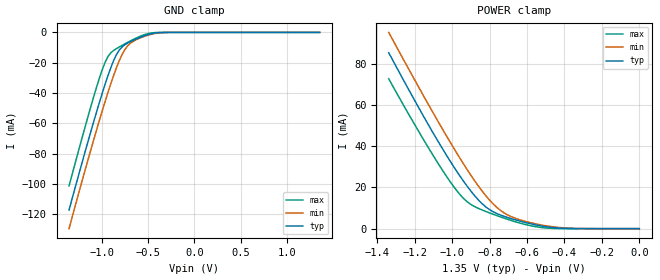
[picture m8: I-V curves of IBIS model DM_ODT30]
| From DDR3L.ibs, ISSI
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|   Model DM_ODT30
[Model]  DM_ODT30
Model_type Input
Vinl = 515.000mV
Vinh = 835.000mV
|   typ   min   max
C_comp   1.3pF   1.2pF   1.40pF
[Model Spec]
| Input threshold voltage corners
Vinl   0.5150V   0.4815V   0.5650V
Vinh   0.8350V   0.8015V   0.8850V
[Receiver Thresholds]
Vth   =  0.675V
Vth_min  =  0.6615V
Vth_max  =  0.6885V
Vinh_ac  =  0.160V
Vinh_dc  =  0.090V
Vinl_ac  = -0.160V
Vinl_dc  = -0.090V
Tslew_ac =  5.0ns
[Add Submodel]
| Submodel Name   Mode
ODT30ohm   Non-Driving
[Voltage Range]   1.3500V   1.2830V   1.4500V
[Pullup Reference]   1.3500V   1.2830V   1.4500V
[Temperature Range]   50.0000   125   -40.0000
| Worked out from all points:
|   GND clamp passes 1 mA (typ) near -0.47 V on its own axis
|   POWER clamp passes 1 mA (typ) near -0.50 V on its own axis
[GND_clamp]
|Voltage   I(typ)   I(min)   I(max)
-1.35V    -117.1mA   -129.4mA   -101.2mA
-1.08V    -57.93mA   -69.88mA   -41.5mA
-1.02V    -45.58mA   -57.36mA   -29.58mA
-960mV    -33.86mA   -45.27mA   -19.5mA
-900mV    -23.24mA   -33.83mA   -13.46mA
-840mV    -14.74mA   -23.41mA   -10.74mA
-810mV    -11.75mA   -18.81mA   -9.661mA
-750mV    -8.206mA   -11.48mA   -7.6mA
-690mV    -6.151mA   -7.182mA   -5.641mA
-510mV    -1.654mA   -2.029mA   -975.4uA
-330mV    -49.01uA   -123.8uA   -4.934uA
1.35V     3.868nA    191.1nA    362.8pA
[POWER_clamp]
|Voltage   I(typ)   I(min)   I(max)
-1.34V    85.33mA    95.18mA    72.7mA
-1.1V     46.03mA    55.77mA    35.14mA
-1.02V    34mA       43.27mA    23.9mA
-960mV    25.64mA    34.29mA    16.65mA
-900mV    18.14mA    25.83mA    11.71mA
-840mV    12.06mA    18.18mA    9.048mA
-800mV    9.184mA    13.77mA    7.615mA
-740mV    6.524mA    8.687mA    5.621mA
-640mV    3.693mA    4.333mA    2.742mA
-460mV    521.1uA    870.3uA    118.9uA
-320mV    22.42uA    75.35uA    910.1nA
0V        3.868nA    46.22nA    484.7pA
